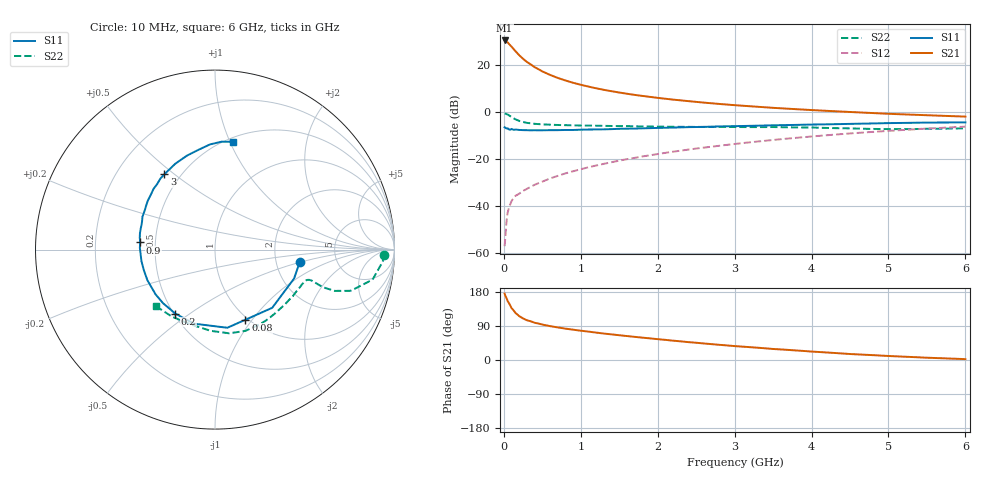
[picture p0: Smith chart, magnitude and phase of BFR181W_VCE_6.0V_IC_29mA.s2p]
! Infineon Technologies  Discrete & RF Semiconductors
! BFR181W
! VCE =  6.0 V,  IC =  29 mA
! Common Emitter S-Parameters:  Jan 2017
# GHz  S  MA  R  50
!  f  S11  S21  S12  S22
! GHz  MAG  ANG  MAG  ANG  MAG  ANG  MAG  ANG
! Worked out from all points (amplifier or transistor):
!   77 points, 10 MHz to 6 GHz, reference 50 ohm
!   highest |S21| = 30.6 dB at 10 MHz (marker M1)
!   |S21| within 3 dB of that: start of sweep to 110.1 MHz
!   unconditionally stable (mu >= 1): 404.1 MHz to 2.449 GHz
!   at 130 MHz: K = 0.54, MSG = 31.7 dB, |S12| = -36.5 dB
!   at 2.2 GHz: K = 1.04, MAG = 9.9 dB, |S12| = -16.8 dB
!   at 6 GHz: K = 0.87, MSG = 2.1 dB, |S12| = -6.1 dB
!   S11 on the Smith chart (normalised r, x): 10 MHz: 2.72, -0.50; 80 MHz: 0.97, -0.93; 200 MHz: 0.51, -0.44; 900 MHz: 0.41, +0.04; 3 GHz: 0.41, +0.46; 6 GHz: 0.54, +1.03
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0.01  0.4771 -8.5  33.85 175.1  0.0014 86.1  0.9439 -1.7
0.02  0.4691 -20.1  33.15 169.5  0.0022 92.2  0.9365 -4.1
0.05  0.4548 -45.5  30.78 155.5  0.0073 72.4  0.8936 -10.8
0.08  0.426 -66.6  26.97 145.2  0.0106 69.5  0.8299 -14.3
0.1  0.4409 -81.0  25.03 136.8  0.0128 68.4  0.7893 -16.9
0.15  0.4288 -105.8  20.12 124.5  0.0165 61.7  0.7075 -19.0
0.2  0.4196 -121.8  16.4 115.8  0.0184 62.9  0.6533 -19.2
0.25  0.4159 -134.1  13.76 109.6  0.0211 62.0  0.619 -18.9
0.3  0.4145 -143.0  11.78 105.0  0.0233 62.5  0.594 -18.4
0.4  0.4136 -155.6  9.14 98.3  0.0284 65.8  0.5666 -17.8
0.5  0.4128 -164.3  7.414 93.5  0.0332 69.2  0.5517 -17.8
0.6  0.4148 -171.2  6.251 89.4  0.0388 70.7  0.5426 -18.1
0.7  0.4152 -176.5  5.391 86.0  0.044 73.6  0.5352 -18.7
0.9  0.4189 174.5  4.246 80.0  0.0552 75.5  0.5262 -20.7
1.1  0.4282 167.5  3.518 74.9  0.0672 77.4  0.5195 -23.1
1.5  0.4435 155.8  2.629 65.4  0.093 78.5  0.507 -29.0
2.1  0.4669 141.4  1.94 53.1  0.1364 77.7  0.4923 -40.2
3  0.5059 123.8  1.415 36.7  0.2105 72.8  0.4846 -59.3
3.1  0.5091 121.9  1.378 35.3  0.2196 72.0  0.4832 -61.3
4.1  0.5495 104.9  1.092 21.1  0.3139 63.0  0.4673 -82.8
5.1  0.5894 91.4  0.913 9.7  0.4102 51.9  0.4369 -110.7
6  0.6085 80.5  0.807 2.3  0.4935 41.2  0.4554 -136.1
